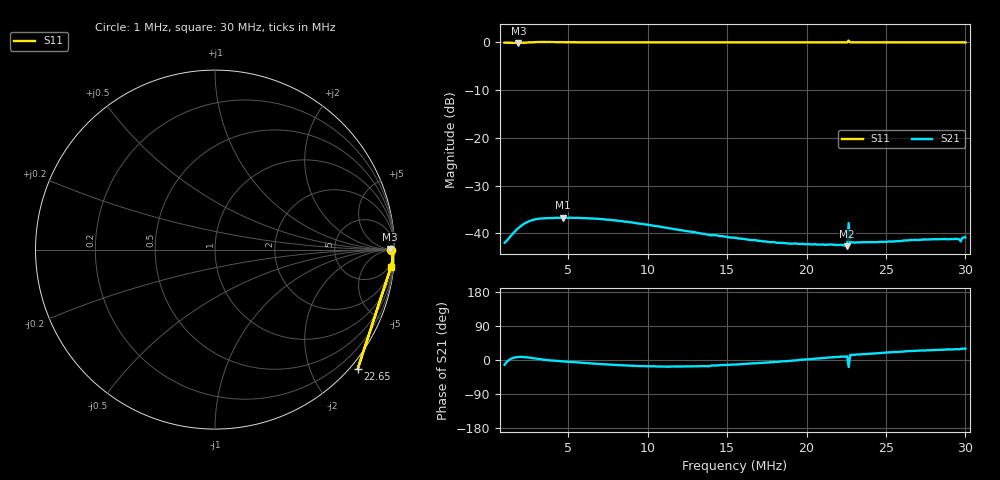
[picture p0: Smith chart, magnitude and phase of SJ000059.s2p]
!File created by NanoVNA-F V2
# Hz S RI R 50
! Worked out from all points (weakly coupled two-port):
!   301 points, 1 MHz to 30 MHz, reference 50 ohm
!   highest |S21| = -36.73 dB at 4.673 MHz (marker M1); lowest = -42.7 dB at 22.56 MHz (marker M2)
!   lowest |S11| = -0.2 dB at 1.87 MHz (marker M3), VSWR 80.26, Z = 3.93e+03 + j577 ohm
!   |S11| at or under -10 dB: nowhere
!   S12 and S22 are empty: the file has one direction only
!   S11 on the Smith chart (normalised r, x): 1 MHz: open; 22.65 MHz: -0.15, -2.75; 30 MHz: 2, -20
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1000000  0.9823 -0.005  0.00778 -0.00174  0 0  0 0
1869994  0.9754 0.00357  0.0113 0.00157  0 0  0 0
2256658  0.9825 0.00774  0.0126 0.0016  0 0  0 0
2933320  0.9958 0.00408  0.014 0.000986  0 0  0 0
4673308  0.9936 -0.0153  0.0145 -0.000979  0 0  0 0
5833300  0.9917 -0.0187  0.0143 -0.00178  0 0  0 0
7573288  0.9916 -0.0249  0.0136 -0.00292  0 0  0 0
1.06666e7  0.9909 -0.0349  0.0113 -0.00347  0 0  0 0
1.395324e7  0.9901 -0.0463  0.00916 -0.00261  0 0  0 0
1.54999e7  0.9901 -0.0504  0.00879 -0.00186  0 0  0 0
1.810988e7  0.9884 -0.0606  0.00794 -0.00066  0 0  0 0
2.03332e7  0.9873 -0.067  0.00766 0.000358  0 0  0 0
2.216985e7  0.9884 -0.0745  0.00749 0.00119  0 0  0 0
2.255652e7  0.9872 -0.0746  0.00724 0.00123  0 0  0 0
2.265318e7  0.7954 -0.6642  0.0121 -0.00408  0 0  0 0
2.274985e7  0.9875 -0.0758  0.00788 0.00185  0 0  0 0
2.51665e7  0.9863 -0.0833  0.00774 0.00283  0 0  0 0
2.932314e7  0.9834 -0.0968  0.00771 0.00418  0 0  0 0
2.961314e7  0.9823 -0.0996  0.00762 0.00407  0 0  0 0
2.97098e7  0.9835 -0.0985  0.00718 0.00406  0 0  0 0
2.980647e7  0.9834 -0.0994  0.00781 0.00444  0 0  0 0
2.99998e7  0.9831 -0.0995  0.00788 0.00452  0 0  0 0
